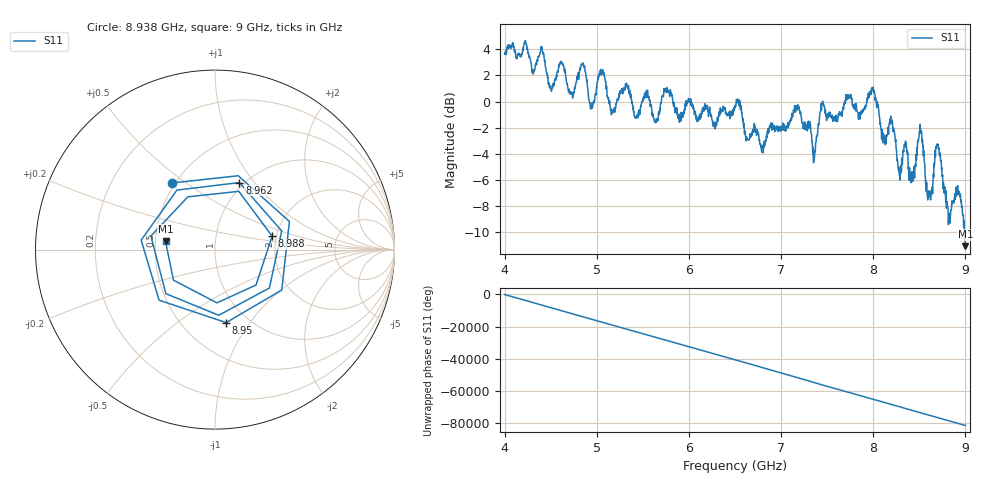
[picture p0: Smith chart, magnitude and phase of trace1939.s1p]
! Created with skrf 1.8.0 (http://scikit-rf.org).
# Hz S RI R 50.0
!freq ReS11 ImS11
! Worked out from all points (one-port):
!   1601 points, 4 GHz to 9 GHz, reference 50 ohm
!   lowest |S11| = -11.1 dB at 9 GHz (marker M1), VSWR 1.78, Z = 28.3 + j2.84 ohm
!   |S11| at or under -10 dB: 8.989268 GHz to end of sweep
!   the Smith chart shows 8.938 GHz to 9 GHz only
!   S11 on the Smith chart (normalised r, x): 8.938 GHz: 0.48, +0.44; 8.95 GHz: 0.80, -0.78; 8.962 GHz: 0.95, +0.84; 8.988 GHz: 1.90, +0.32; 9 GHz: 0.57, +0.06
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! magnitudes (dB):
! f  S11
! 4 GHz  3.7
! 4.625 GHz  3.0
! 4.728 GHz  0.7
! 4.853 GHz  2.8
! 4.938 GHz  -0.4
! 5.05 GHz  2.0
! 5.162 GHz  -0.7
! 5.25 GHz  0.8
! 5.875 GHz  -1.0
! 6.5 GHz  -0.5
! 6.797 GHz  -3.8
! 7.125 GHz  -1.2
! 7.359 GHz  -4.5
! 7.447 GHz  -0.2
! 7.75 GHz  0.3
! 7.994 GHz  0.9
! 8.281 GHz  -5.5
! 8.375 GHz  -3.9
! 8.428 GHz  -6.1
! 8.509 GHz  -1.7
! 8.6 GHz  -7.0
! 8.697 GHz  -3.4
! 8.819 GHz  -8.8
! 8.938 GHz  -7.1
! 8.95 GHz  -7.7
! 8.962 GHz  -8.0
! 8.988 GHz  -9.7
! 9 GHz  -11.1
